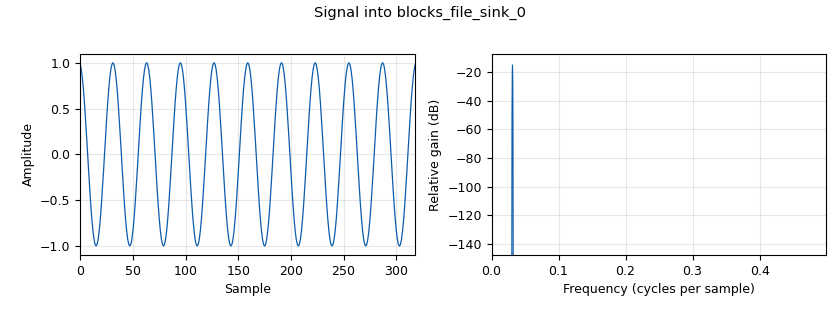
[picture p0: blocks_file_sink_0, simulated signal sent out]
<?xml version='1.0' encoding='utf-8'?>
<?grc format='1' created='3.7.11'?>
<flow_graph>
<block>
<key>options</key>
<param><key>id</key><value>signal_test</value></param>
<param><key>generate_options</key><value>no_gui</value></param>
</block>
<block>
<key>variable</key>
<param><key>id</key><value>samp_rate</value></param>
<param><key>value</key><value>32000</value></param>
</block>
<block>
<key>analog_sig_source_x</key>
<param><key>id</key><value>analog_sig_source_x_0</value></param>
<param><key>amp</key><value>1</value></param>
<param><key>freq</key><value>1000</value></param>
<param><key>offset</key><value>0</value></param>
<param><key>type</key><value>float</value></param>
<param><key>samp_rate</key><value>samp_rate</value></param>
<param><key>waveform</key><value>analog.GR_COS_WAVE</value></param>
</block>
<block>
<key>blocks_file_sink</key>
<param><key>id</key><value>blocks_file_sink_0</value></param>
<param><key>file</key><value>/home/punishment/Projects/flowgraphs/op.txt</value></param>
<param><key>type</key><value>float</value></param>
</block>
<block>
<key>blocks_throttle</key>
<param><key>id</key><value>blocks_throttle_0</value></param>
<param><key>samples_per_second</key><value>samp_rate</value></param>
<param><key>type</key><value>float</value></param>
</block>
<connection><source_block_id>analog_sig_source_x_0</source_block_id><sink_block_id>blocks_throttle_0</sink_block_id><source_key>0</source_key><sink_key>0</sink_key></connection>
<connection><source_block_id>blocks_throttle_0</source_block_id><sink_block_id>blocks_file_sink_0</sink_block_id><source_key>0</source_key><sink_key>0</sink_key></connection>
</flow_graph>
